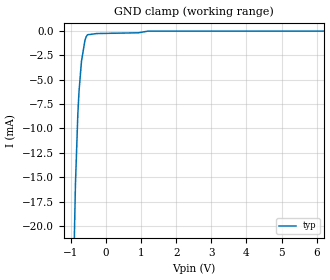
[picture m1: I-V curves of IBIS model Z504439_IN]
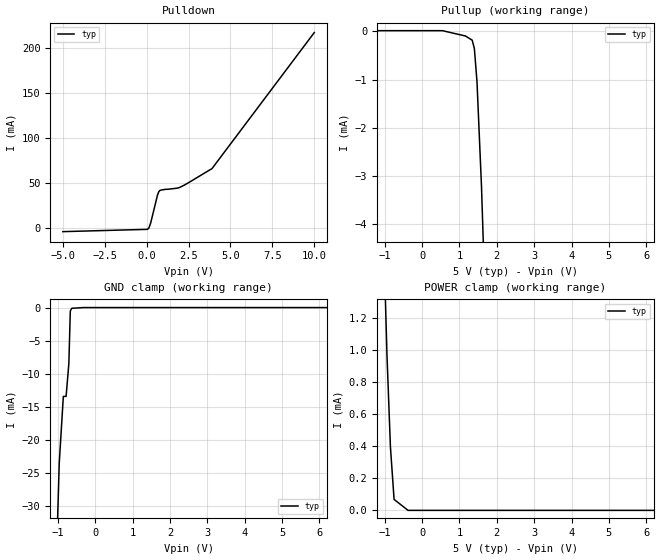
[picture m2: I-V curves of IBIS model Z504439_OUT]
| YOU ARE ONLY AUTHORIZED TO USE THIS SOFTWARE
| ACCORDING TO LICENSOR'S LICENSE RESTRICTIONS.
[IBIS Ver] 3.1
[File Name] sn54ls32j.ibs
[File Rev] 2.0
[Source] Measured and created by ICX Technology
[Date] Friday 7/14/00 9:08:14 AM
[Copyright]
| (C) COPYRIGHT 1993-2000
| MENTOR GRAPHICS CORPORATION
| ICX STANDARD LIBRARY, ICX PROJECT MODELING,
| ICX CUSTOM MODELING, ICX VENDOR MODEL
| ALL RIGHTS RESERVED.
| THE FOLLOWING ARE TRADEMARKS OR SERVICE MARKS OF
| MENTOR GRAPHICS CORPORATION:ICX (R), ICX STANDARD
| LIBRARY(R), ICX PROJECT MODELING(R), ICX CUSTOM
| MODELING(R), qualityIBIS(TM), MODELVIEWER(TM),
| AND MODELEDITOR(TM)
| ALL COPIES OF SOFTWARE, INCLUDING BUT NOT LIMITED TO
| ANY MODIFICATIONS, ENHANCEMENTS OR DERIVATIVE WORKS,
| MUST CONTAIN ALL MENTOR GRAPHICS CORPORATION'S
| NOTICES AND LEGENDS, INCLUDING THOSE EMBEDDED IN
| SOFTWARE AND THOSE AFFIXED TO SOFTWARE MEDIUM
| AND CONTAINER, AS RECEIVED FROM MENTOR GRAPHICS
| CORPORATION.
|  ZAP Model Builder 2.7
[Component] SN54LS32J
[Manufacturer] OnSemiconductor
[Package]
| variable   typ   min   max
R_pkg  .21ohms NA NA
L_pkg  4.543nH NA NA
C_pkg  1.8pF NA NA
[Pin] signal_name  model_name  R_pin  L_pin C_pin
1 A Z504439_IN .22 6.757n 2.434p
2 B Z504439_IN .212 4.757n 1.941p
3 Y Z504439_OUT .204 3.257n 1.448p
4 A Z504439_IN .196 2.257n .955p
5 B Z504439_IN .204 3.257n 1.448p
6 Y Z504439_OUT .212 4.757n 1.941p
7 GND GND .22 6.757n 2.434p
8 Y Z504439_OUT .22 6.757n 2.434p
9 A Z504439_IN .212 4.757n 1.941p
10 B Z504439_IN .204 3.257n 1.448p
11 Y Z504439_OUT .196 2.257n .955p
12 A Z504439_IN .204 3.257n 1.448p
13 B Z504439_IN .212 4.757n 1.941p
14 VCC POWER .22 6.757n 2.434p
| Models and submodels in the file (2): Z504439_IN (Input), Z504439_OUT (Output)
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| (C) COPYRIGHT 1993-2000
| MENTOR GRAPHICS CORPORATION
| ICX STANDARD LIBRARY, ICX PROJECT MODELING,
| ICX CUSTOM MODELING, ICX VENDOR MODEL
| ALL RIGHTS RESERVED.
| THE FOLLOWING ARE TRADEMARKS OR SERVICE MARKS OF
| MENTOR GRAPHICS CORPORATION:ICX (R), ICX STANDARD
| LIBRARY(R), ICX PROJECT MODELING(R), ICX CUSTOM
| MODELING(R), qualityIBIS(TM), MODELVIEWER(TM),
| AND MODELEDITOR(TM)
| ALL COPIES OF SOFTWARE, INCLUDING BUT NOT LIMITED TO
| ANY MODIFICATIONS, ENHANCEMENTS OR DERIVATIVE WORKS,
| MUST CONTAIN ALL MENTOR GRAPHICS CORPORATION'S
| NOTICES AND LEGENDS, INCLUDING THOSE EMBEDDED IN
| SOFTWARE AND THOSE AFFIXED TO SOFTWARE MEDIUM
| AND CONTAINER, AS RECEIVED FROM MENTOR GRAPHICS
| CORPORATION.
| Model Application Version 1.89 2/18/99.
[Model] Z504439_IN
Model_type Input
Vinl = 800.0mV
Vinh = 2.000V
C_comp 4.000pF NA NA
| variable typ   min   max
[Voltage Range] 5.000V NA NA
[GND Clamp Reference] 0.000V NA NA
[POWER Clamp Reference] 5.000V NA NA
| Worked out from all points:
|   GND clamp passes 1 mA (typ) near -0.60 V on its own axis
[GND Clamp]
-5V       -736.1mA   NA         NA
-869mV    -15.71mA   NA         NA
-800.7mV  -8.511mA   NA         NA
-766.4mV  -6.131mA   NA         NA
-698.2mV  -3.132mA   NA         NA
-599.8mV  -962.3uA   NA         NA
-563.7mV  -583.5uA   NA         NA
-527.3mV  -377.1uA   NA         NA
-263.7mV  -250.3uA   NA         NA
927.6mV   -172.4uA   NA         NA
1.187V    -3.717uA   NA         NA
10V       2.252uA    NA         NA
[POWER Clamp]
-5V       0A         NA         NA
10V       0A         NA         NA
| (C) COPYRIGHT 1993-2000
| MENTOR GRAPHICS CORPORATION
| ICX STANDARD LIBRARY, ICX PROJECT MODELING,
| ICX CUSTOM MODELING, ICX VENDOR MODEL
| ALL RIGHTS RESERVED.
| THE FOLLOWING ARE TRADEMARKS OR SERVICE MARKS OF
| MENTOR GRAPHICS CORPORATION:ICX (R), ICX STANDARD
| LIBRARY(R), ICX PROJECT MODELING(R), ICX CUSTOM
| MODELING(R), qualityIBIS(TM), MODELVIEWER(TM),
| AND MODELEDITOR(TM)
| ALL COPIES OF SOFTWARE, INCLUDING BUT NOT LIMITED TO
| ANY MODIFICATIONS, ENHANCEMENTS OR DERIVATIVE WORKS,
| MUST CONTAIN ALL MENTOR GRAPHICS CORPORATION'S
| NOTICES AND LEGENDS, INCLUDING THOSE EMBEDDED IN
| SOFTWARE AND THOSE AFFIXED TO SOFTWARE MEDIUM
| AND CONTAINER, AS RECEIVED FROM MENTOR GRAPHICS
| CORPORATION.
| Model Application Version 1.89 2/18/99.
[Model] Z504439_OUT
Model_type Output
Vref=5.000V
Rref=2.000kohms
Cref=15.00pF
Vmeas=1.300V
C_comp 8.000pF NA NA
| variable typ   min   max
[Voltage Range] 5.000V NA NA
[POWER Clamp Reference] 5.000V NA NA
[Pullup Reference] 5.000V NA NA
[Pulldown Reference] 0.000V NA NA
[GND Clamp Reference] 0.000V NA NA
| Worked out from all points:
|   slope of the pulldown table from 0 to 0.75 V, typ, clamps not added: 17.7 ohm
|   slope of the pullup table from 0 to 0.75 V, typ, clamps not added: 20.5 kohm
|   GND clamp passes 1 mA (typ) near -0.67 V on its own axis
[GND Clamp]
-5V       -1.041A    NA         NA
-1.094V   -49.45mA   NA         NA
-960.8mV  -23.6mA    NA         NA
-850.5mV  -13.44mA   NA         NA
-776.8mV  -13.44mA   NA         NA
-703.1mV  -8.485mA   NA         NA
-664.1mV  -511.7uA   NA         NA
-625mV    -109.4uA   NA         NA
-312.5mV  0A         NA         NA
10V       0A         NA         NA
[Pulldown]
-5V       -3.52mA    NA         NA
68.36mV   -693.7uA   NA         NA
131.8mV   516.7uA    NA         NA
242.3mV   6.274mA    NA         NA
645.5mV   37.04mA    NA         NA
723.9mV   40.75mA    NA         NA
781.3mV   42.08mA    NA         NA
1.957V    45.45mA    NA         NA
3.887V    66.19mA    NA         NA
10V       217.4mA    NA         NA
[Pullup]
-5V       14.9uA     NA         NA
547mV     14.9uA     NA         NA
1.163V    -96.11uA   NA         NA
1.343V    -183.1uA   NA         NA
1.401V    -356.7uA   NA         NA
1.471V    -1.044mA   NA         NA
1.592V    -3.231mA   NA         NA
10V       -206.6mA   NA         NA
[POWER Clamp]
-5V       34.7mA     NA         NA
-938mV    974uA      NA         NA
-845mV    396.6uA    NA         NA
-747mV    68.31uA    NA         NA
-373.5mV  0A         NA         NA
10V       0A         NA         NA
[Ramp]
| variable typ min max
dV/dt_r 1.906/6.316n NA NA
dV/dt_f 1.906/1.392n NA NA
R_load = 500.0Ohms
